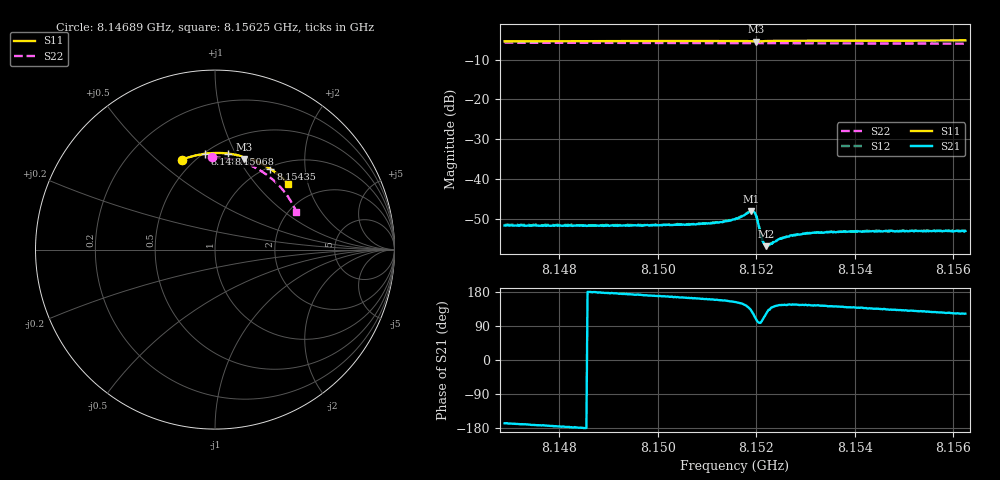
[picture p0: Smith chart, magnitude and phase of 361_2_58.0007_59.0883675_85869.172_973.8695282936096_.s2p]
#  HZ  S  RI  R  50.00
! Rohde & Schwarz Vector Network Analyzer
! Rohde-Schwarz,ZNB20-2Port,1311601062101988,3.16
! Created: UTC 3/21/2024, 1:06:25 AM
! freq[Hz]  re:S11  im:S11  re:S21  im:S21  re:S12  im:S12  re:S22  im:S22
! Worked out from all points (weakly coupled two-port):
!   401 points, 8.14689 GHz to 8.15625 GHz, reference 50 ohm
!   highest |S21| = -47.94 dB at 8.1519 GHz (marker M1); lowest = -56.8 dB at 8.1522 GHz (marker M2)
!   lowest |S11| = -5.5 dB at 8.15199 GHz (marker M3), VSWR 3.26, Z = 37.4 + j52.6 ohm
!   |S11| at or under -10 dB: nowhere
!   |S22| runs from -6.0 to -5.8 dB; largest |S21 - S12| = 0.00012
!   S11 on the Smith chart (normalised r, x): 8.14689 GHz: 0.43, +0.61; 8.14878 GHz: 0.51, +0.76; 8.15068 GHz: 0.62, +0.94; 8.15435 GHz: 1.03, +1.32; 8.15625 GHz: 1.45, +1.51
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8.146887e9  -0.1848 0.5005  -0.00256 -0.000589  -0.00264 -0.000533  -0.0179 0.5132
8.148455e9  -0.0796 0.5305  -0.00263 -4.63e-05  -0.00265 -6.83e-06  0.084 0.5048
8.148783e9  -0.0571 0.5339  -0.00263 0.000109  -0.00265 0.000119  0.1048 0.5005
8.150023e9  0.0292 0.5383  -0.00259 0.00052  -0.00261 0.000547  0.1813 0.4765
8.150679e9  0.0746 0.5349  -0.00262 0.000757  -0.00262 0.000821  0.2194 0.459
8.151287e9  0.1173 0.528  -0.00269 0.0011  -0.00269 0.00115  0.2537 0.4399
8.151568e9  0.1373 0.5231  -0.00281 0.00142  -0.00282 0.00145  0.2687 0.4305
8.151896e9  0.16 0.5101  -0.00262 0.00303  -0.00258 0.00307  0.2857 0.4181
8.151942e9  0.1607 0.507  -0.00203 0.00339  -0.00199 0.00347  0.288 0.4165
8.151989e9  0.1598 0.5054  -0.00119 0.0034  -0.00114 0.00342  0.2902 0.4148
8.152013e9  0.1592 0.5057  -0.00078 0.00316  -0.000745 0.00319  0.2913 0.4138
8.152106e9  0.1622 0.5097  -0.000374 0.00184  -0.000359 0.00188  0.2961 0.4106
8.15213e9  0.1641 0.5105  -0.000483 0.00162  -0.000434 0.00163  0.2974 0.41
8.152153e9  0.1658 0.5109  -0.000573 0.00146  -0.000552 0.00148  0.2986 0.4089
8.1522e9  0.1698 0.5113  -0.000758 0.00124  -0.000766 0.00125  0.301 0.4072
8.152247e9  0.1737 0.5111  -0.000993 0.0011  -0.000946 0.00113  0.3034 0.4053
8.152434e9  0.188 0.508  -0.0014 0.00103  -0.00141 0.00102  0.3127 0.3979
8.152668e9  0.2041 0.5029  -0.0016 0.00105  -0.00159 0.00112  0.324 0.3883
8.153136e9  0.2349 0.4902  -0.00173 0.00124  -0.00173 0.00127  0.3456 0.3681
8.154353e9  0.3089 0.4496  -0.00161 0.00155  -0.00162 0.00159  0.3956 0.3101
8.154704e9  0.3288 0.4358  -0.0015 0.00164  -0.00154 0.00167  0.4083 0.2922
8.156248e9  0.4082 0.3655  -0.0012 0.0019  -0.00122 0.00193  0.454 0.2079
